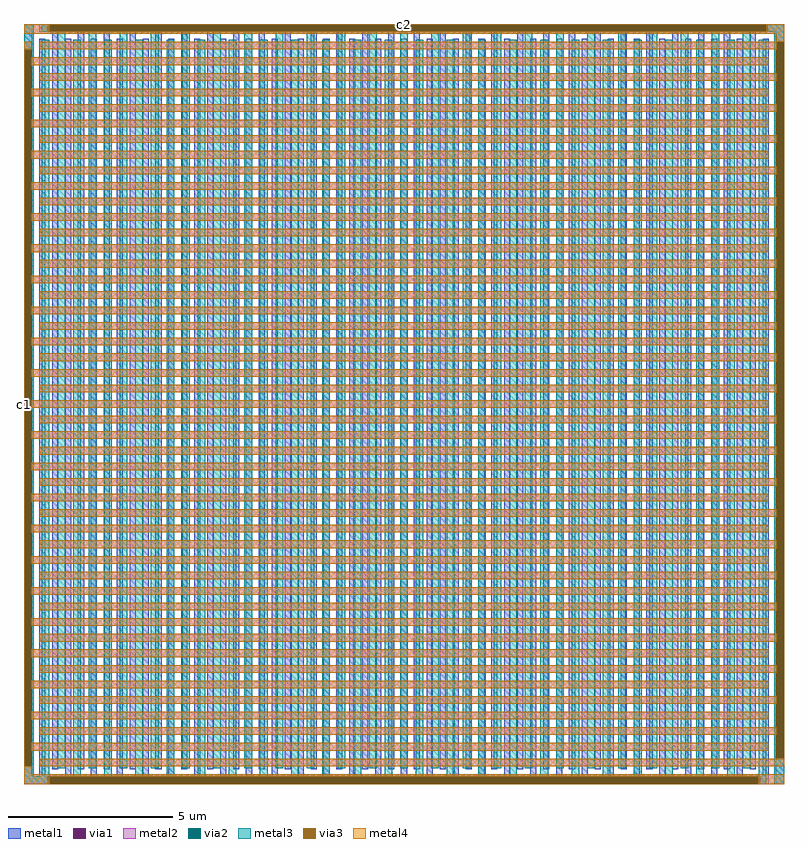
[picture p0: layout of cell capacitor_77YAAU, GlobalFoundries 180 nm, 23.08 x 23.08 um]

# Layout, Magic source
magic
tech gf180mcuD
magscale 3 26
<< metal1 >>
rect 0 3866 44 4000
rect 80 3999 4000 4000
rect 80 3959 126 3999
rect 3914 3959 4000 3999
rect 80 3958 4000 3959
rect 0 94 1 3866
rect 41 94 44 3866
rect 0 42 44 94
rect 80 42 112 3922
rect 148 78 180 3958
rect 216 42 248 3922
rect 284 78 316 3958
rect 352 42 384 3922
rect 420 78 452 3958
rect 488 42 520 3922
rect 556 78 588 3958
rect 624 42 656 3922
rect 692 78 724 3958
rect 760 42 792 3922
rect 828 78 860 3958
rect 896 42 928 3922
rect 964 78 996 3958
rect 1032 42 1064 3922
rect 1100 78 1132 3958
rect 1168 42 1200 3922
rect 1236 78 1268 3958
rect 1304 42 1336 3922
rect 1372 78 1404 3958
rect 1440 42 1472 3922
rect 1508 78 1540 3958
rect 1576 42 1608 3922
rect 1644 78 1676 3958
rect 1712 42 1744 3922
rect 1780 78 1812 3958
rect 1848 42 1880 3922
rect 1916 78 1948 3958
rect 1984 42 2016 3922
rect 2052 78 2084 3958
rect 2120 42 2152 3922
rect 2188 78 2220 3958
rect 2256 42 2288 3922
rect 2324 78 2356 3958
rect 2392 42 2424 3922
rect 2460 78 2492 3958
rect 2528 42 2560 3922
rect 2596 78 2628 3958
rect 2664 42 2696 3922
rect 2732 78 2764 3958
rect 2800 42 2832 3922
rect 2868 78 2900 3958
rect 2936 42 2968 3922
rect 3004 78 3036 3958
rect 3072 42 3104 3922
rect 3140 78 3172 3958
rect 3208 42 3240 3922
rect 3276 78 3308 3958
rect 3344 42 3376 3922
rect 3412 78 3444 3958
rect 3480 42 3512 3922
rect 3548 78 3580 3958
rect 3616 42 3648 3922
rect 3684 78 3716 3958
rect 3752 42 3784 3922
rect 3820 78 3852 3958
rect 3888 42 3920 3922
rect 0 41 3920 42
rect 0 1 126 41
rect 3874 1 3920 41
rect 0 0 3920 1
rect 3956 3906 4000 3958
rect 3956 134 3959 3906
rect 3999 134 4000 3906
rect 3956 0 4000 134
<< via1 >>
rect 126 3959 3914 3999
rect 1 94 41 3866
rect 126 1 3874 41
rect 3959 134 3999 3906
<< metal2 >>
rect 0 3999 134 4000
rect 3906 3999 4000 4000
rect 0 3959 126 3999
rect 3914 3959 4000 3999
rect 0 3948 4000 3959
rect 3959 3906 4000 3948
rect 0 3866 41 3906
rect 84 3866 3959 3906
rect 41 3784 3916 3824
rect 84 3702 3959 3742
rect 41 3620 3916 3660
rect 84 3538 3959 3578
rect 41 3456 3916 3496
rect 84 3374 3959 3414
rect 41 3292 3916 3332
rect 84 3210 3959 3250
rect 41 3128 3916 3168
rect 84 3046 3959 3086
rect 41 2964 3916 3004
rect 84 2882 3959 2922
rect 41 2800 3916 2840
rect 84 2718 3959 2758
rect 41 2636 3916 2676
rect 84 2554 3959 2594
rect 41 2472 3916 2512
rect 84 2390 3959 2430
rect 41 2308 3916 2348
rect 84 2226 3959 2266
rect 41 2144 3916 2184
rect 84 2062 3959 2102
rect 41 1980 3916 2020
rect 84 1898 3959 1938
rect 41 1816 3916 1856
rect 84 1734 3959 1774
rect 41 1652 3916 1692
rect 84 1570 3959 1610
rect 41 1488 3916 1528
rect 84 1406 3959 1446
rect 41 1324 3916 1364
rect 84 1242 3959 1282
rect 41 1160 3916 1200
rect 84 1078 3959 1118
rect 41 996 3916 1036
rect 84 914 3959 954
rect 41 832 3916 872
rect 84 750 3959 790
rect 41 668 3916 708
rect 84 586 3959 626
rect 41 504 3916 544
rect 84 422 3959 462
rect 41 340 3916 380
rect 84 258 3959 298
rect 41 176 3916 216
rect 84 94 4000 134
rect 0 52 41 94
rect 0 41 4000 52
rect 0 1 126 41
rect 3874 1 4000 41
rect 0 0 134 1
rect 3866 0 4000 1
<< via2 >>
rect 134 3999 3906 4000
rect 134 3960 3906 3999
rect 0 94 1 3866
rect 1 94 40 3866
rect 3960 134 3999 3906
rect 3999 134 4000 3906
rect 134 1 3866 40
rect 134 0 3866 1
<< metal3 >>
rect 0 3866 52 4000
rect 94 3960 134 4000
rect 3906 3960 4000 4000
rect 40 94 52 3866
rect 0 40 52 94
rect 94 40 134 3918
rect 176 82 216 3960
rect 258 40 298 3918
rect 340 82 380 3960
rect 422 40 462 3918
rect 504 82 544 3960
rect 586 40 626 3918
rect 668 82 708 3960
rect 750 40 790 3918
rect 832 82 872 3960
rect 914 40 954 3918
rect 996 82 1036 3960
rect 1078 40 1118 3918
rect 1160 82 1200 3960
rect 1242 40 1282 3918
rect 1324 82 1364 3960
rect 1406 40 1446 3918
rect 1488 82 1528 3960
rect 1570 40 1610 3918
rect 1652 82 1692 3960
rect 1734 40 1774 3918
rect 1816 82 1856 3960
rect 1898 40 1938 3918
rect 1980 82 2020 3960
rect 2062 40 2102 3918
rect 2144 82 2184 3960
rect 2226 40 2266 3918
rect 2308 82 2348 3960
rect 2390 40 2430 3918
rect 2472 82 2512 3960
rect 2554 40 2594 3918
rect 2636 82 2676 3960
rect 2718 40 2758 3918
rect 2800 82 2840 3960
rect 2882 40 2922 3918
rect 2964 82 3004 3960
rect 3046 40 3086 3918
rect 3128 82 3168 3960
rect 3210 40 3250 3918
rect 3292 82 3332 3960
rect 3374 40 3414 3918
rect 3456 82 3496 3960
rect 3538 40 3578 3918
rect 3620 82 3660 3960
rect 3702 40 3742 3918
rect 3784 82 3824 3960
rect 0 0 134 40
rect 3866 0 3906 3918
rect 3948 3906 4000 3960
rect 3948 134 3960 3906
rect 3948 0 4000 134
<< via3 >>
rect 134 3960 3906 4000
rect 0 94 40 3866
rect 134 0 3866 40
rect 3960 134 4000 3906
<< metal4 >>
rect 0 3960 134 4000
rect 3906 3960 4000 4000
rect 0 3948 4000 3960
rect 3960 3906 4000 3948
rect 0 3866 40 3906
rect 82 3866 3960 3906
rect 40 3784 3918 3824
rect 82 3702 3960 3742
rect 40 3620 3918 3660
rect 82 3538 3960 3578
rect 40 3456 3918 3496
rect 82 3374 3960 3414
rect 40 3292 3918 3332
rect 82 3210 3960 3250
rect 40 3128 3918 3168
rect 82 3046 3960 3086
rect 40 2964 3918 3004
rect 82 2882 3960 2922
rect 40 2800 3918 2840
rect 82 2718 3960 2758
rect 40 2636 3918 2676
rect 82 2554 3960 2594
rect 40 2472 3918 2512
rect 82 2390 3960 2430
rect 40 2308 3918 2348
rect 82 2226 3960 2266
rect 40 2144 3918 2184
rect 82 2062 3960 2102
rect 40 1980 3918 2020
rect 82 1898 3960 1938
rect 40 1816 3918 1856
rect 82 1734 3960 1774
rect 40 1652 3918 1692
rect 82 1570 3960 1610
rect 40 1488 3918 1528
rect 82 1406 3960 1446
rect 40 1324 3918 1364
rect 82 1242 3960 1282
rect 40 1160 3918 1200
rect 82 1078 3960 1118
rect 40 996 3918 1036
rect 82 914 3960 954
rect 40 832 3918 872
rect 82 750 3960 790
rect 40 668 3918 708
rect 82 586 3960 626
rect 40 504 3918 544
rect 82 422 3960 462
rect 40 340 3918 380
rect 82 258 3960 298
rect 40 176 3918 216
rect 82 94 4000 134
rect 0 52 40 94
rect 0 40 4000 52
rect 0 0 134 40
rect 3866 0 4000 40
<< labels >>
rlabel via3 2 2000 2 2000 0 c1
port 1 nsew
rlabel via3 2000 3998 2000 3998 0 c2
port 2 nsew
<< properties >>
string device csubckt cap_cmomf 0 0 1 1 w=20u l=20u mmin=1 mmax=4 subblock=0 mm_ok=1 c1 0 0 c2 0 0
string FIXED_BBOX 0 0 4000 4000
string gencell cap_cmomf
string library gf180mcu
string parameters w 20.00 l 20.00 value 514.800 class capacitor mmin metal1 mmax metal4 square 1 subblock 0 lmin 2.00 wmin 2.00 lmax 100.0 wmax 100.0
<< end >>
